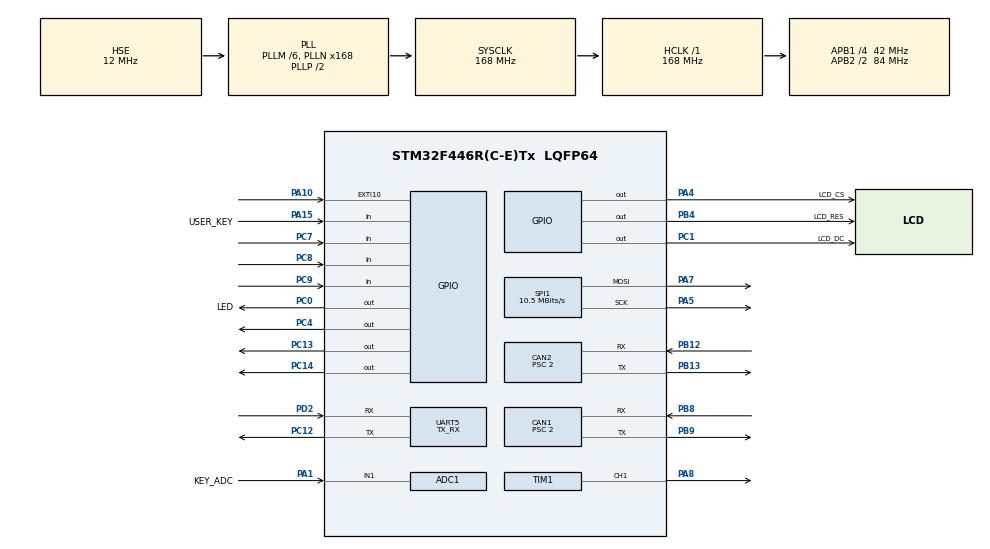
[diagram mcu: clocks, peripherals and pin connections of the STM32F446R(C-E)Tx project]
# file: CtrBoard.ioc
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ADC1.Channel-0\#ChannelRegularConversion=ADC_CHANNEL_1
ADC1.ContinuousConvMode=ENABLE
ADC1.DMAContinuousRequests=ENABLE
ADC1.NbrOfConversionFlag=1
ADC1.Rank-0\#ChannelRegularConversion=1
ADC1.SamplingTime-0\#ChannelRegularConversion=ADC_SAMPLETIME_56CYCLES
ADC1.master=1
CAN1.BS1=CAN_BS1_15TQ
CAN1.BS2=CAN_BS2_5TQ
CAN1.CalculateBaudRate=1000000
CAN1.CalculateTimeQuantum=47.61904761904762
CAN1.Prescaler=2
CAN2.BS1=CAN_BS1_15TQ
CAN2.BS2=CAN_BS2_5TQ
CAN2.CalculateBaudRate=1000000
CAN2.CalculateTimeBit=1000
CAN2.CalculateTimeQuantum=47.61904761904762
CAN2.Prescaler=2
Dma.ADC1.0.Direction=DMA_PERIPH_TO_MEMORY
Dma.ADC1.0.FIFOMode=DMA_FIFOMODE_DISABLE
Dma.ADC1.0.Instance=DMA2_Stream0
Dma.ADC1.0.MemDataAlignment=DMA_MDATAALIGN_HALFWORD
Dma.ADC1.0.MemInc=DMA_MINC_ENABLE
Dma.ADC1.0.Mode=DMA_CIRCULAR
Dma.ADC1.0.PeriphDataAlignment=DMA_PDATAALIGN_HALFWORD
Dma.ADC1.0.PeriphInc=DMA_PINC_DISABLE
Dma.ADC1.0.Priority=DMA_PRIORITY_LOW
Dma.Request0=ADC1
Dma.Request1=UART5_TX
Dma.Request2=UART5_RX
Dma.UART5_RX.2.Direction=DMA_PERIPH_TO_MEMORY
Dma.UART5_RX.2.FIFOMode=DMA_FIFOMODE_DISABLE
Dma.UART5_RX.2.Instance=DMA1_Stream0
Dma.UART5_RX.2.MemDataAlignment=DMA_MDATAALIGN_BYTE
Dma.UART5_RX.2.MemInc=DMA_MINC_ENABLE
Dma.UART5_RX.2.Mode=DMA_NORMAL
Dma.UART5_RX.2.PeriphDataAlignment=DMA_PDATAALIGN_BYTE
Dma.UART5_RX.2.PeriphInc=DMA_PINC_DISABLE
Dma.UART5_RX.2.Priority=DMA_PRIORITY_LOW
Dma.UART5_TX.1.Direction=DMA_MEMORY_TO_PERIPH
Dma.UART5_TX.1.FIFOMode=DMA_FIFOMODE_DISABLE
Dma.UART5_TX.1.Instance=DMA1_Stream7
Dma.UART5_TX.1.MemDataAlignment=DMA_MDATAALIGN_BYTE
Dma.UART5_TX.1.MemInc=DMA_MINC_ENABLE
Dma.UART5_TX.1.Mode=DMA_NORMAL
Dma.UART5_TX.1.PeriphDataAlignment=DMA_PDATAALIGN_BYTE
Dma.UART5_TX.1.PeriphInc=DMA_PINC_DISABLE
Dma.UART5_TX.1.Priority=DMA_PRIORITY_VERY_HIGH
Mcu.Family=STM32F4
Mcu.Name=STM32F446R(C-E)Tx
Mcu.Package=LQFP64
NVIC.CAN1_RX0_IRQn=true\:0\:0\:false\:false\:true\:true\:true\:true
NVIC.CAN1_RX1_IRQn=true\:0\:0\:false\:false\:true\:true\:true\:true
NVIC.CAN2_RX0_IRQn=true\:0\:0\:false\:false\:true\:true\:true\:true
NVIC.CAN2_RX1_IRQn=true\:0\:0\:false\:false\:true\:true\:true\:true
NVIC.DMA1_Stream0_IRQn=true\:0\:0\:false\:false\:true\:false\:true\:true
NVIC.DMA1_Stream7_IRQn=true\:0\:0\:false\:false\:true\:false\:true\:true
NVIC.DMA2_Stream0_IRQn=true\:0\:0\:false\:false\:true\:false\:true\:true
NVIC.PriorityGroup=NVIC_PRIORITYGROUP_4
NVIC.TIM2_IRQn=true\:0\:0\:false\:false\:true\:true\:true\:true
NVIC.TIM3_IRQn=true\:0\:0\:false\:false\:true\:true\:true\:true
NVIC.UART5_IRQn=true\:0\:0\:false\:false\:true\:true\:true\:true
PA1.GPIO_Label=KEY_ADC
PA1.Signal=ADCx_IN1
PA10.Signal=GPXTI10
PA13.Mode=Serial_Wire
PA13.Signal=SYS_JTMS-SWDIO
PA14.Mode=Serial_Wire
PA14.Signal=SYS_JTCK-SWCLK
PA15.GPIO_Label=USER_KEY
PA15.GPIO_PuPd=GPIO_PULLUP
PA15.Signal=GPIO_Input
PA4.GPIO_Label=LCD_CS
PA4.Signal=GPIO_Output
PA5.Mode=TX_Only_Simplex_Unidirect_Master
PA5.Signal=SPI1_SCK
PA7.Mode=TX_Only_Simplex_Unidirect_Master
PA7.Signal=SPI1_MOSI
PA8.Signal=S_TIM1_CH1
PB12.Mode=CAN_Activate
PB12.Signal=CAN2_RX
PB13.Mode=CAN_Activate
PB13.Signal=CAN2_TX
PB4.GPIO_Label=LCD_RES
PB4.Signal=GPIO_Output
PB8.Mode=CAN_Activate
PB8.Signal=CAN1_RX
PB9.Mode=CAN_Activate
PB9.Signal=CAN1_TX
PC0.GPIO_Label=LED
PC0.GPIO_ModeDefaultOutputPP=GPIO_MODE_OUTPUT_PP
PC0.GPIO_PuPd=GPIO_NOPULL
PC0.GPIO_Speed=GPIO_SPEED_FREQ_LOW
PC0.PinState=GPIO_PIN_RESET
PC0.Signal=GPIO_Output
PC1.GPIO_Label=LCD_DC
PC1.Signal=GPIO_Output
PC12.GPIO_PuPd=GPIO_PULLUP
PC12.Mode=Asynchronous
PC12.Signal=UART5_TX
PC13.Signal=GPIO_Output
PC14-OSC32_IN.GPIO_ModeDefaultOutputPP=GPIO_MODE_OUTPUT_PP
PC14-OSC32_IN.Signal=GPIO_Output
PC4.Signal=GPIO_Output
PC7.Signal=GPIO_Input
PC8.Signal=GPIO_Input
PC9.GPIO_PuPd=GPIO_PULLUP
PC9.Signal=GPIO_Input
PD2.GPIO_PuPd=GPIO_PULLUP
PD2.Mode=Asynchronous
PD2.Signal=UART5_RX
PH0-OSC_IN.Mode=HSE-External-Oscillator
PH0-OSC_IN.Signal=RCC_OSC_IN
PH1-OSC_OUT.Mode=HSE-External-Oscillator
PH1-OSC_OUT.Signal=RCC_OSC_OUT
ProjectManager.HeapSize=0x200
ProjectManager.StackSize=0x2000
ProjectManager.TargetToolchain=MDK-ARM V5.27
RCC.AHBFreq_Value=168000000
RCC.APB1CLKDivider=RCC_HCLK_DIV4
RCC.APB1Freq_Value=42000000
RCC.APB1TimFreq_Value=84000000
RCC.APB2CLKDivider=RCC_HCLK_DIV2
RCC.APB2Freq_Value=84000000
RCC.APB2TimFreq_Value=168000000
RCC.CortexFreq_Value=168000000
RCC.HCLKFreq_Value=168000000
RCC.HSE_VALUE=12000000
RCC.PLLM=6
RCC.PLLN=168
RCC.PLLQ=7
RCC.PLLSAIM=6
RCC.PLLSAIN=96
RCC.PLLSAIP=RCC_PLLSAIP_DIV4
RCC.PLLSourceVirtual=RCC_PLLSOURCE_HSE
RCC.SYSCLKFreq_VALUE=168000000
RCC.SYSCLKSource=RCC_SYSCLKSOURCE_PLLCLK
RCC.USBFreq_Value=48000000
RCC.VCOOutputFreq_Value=336000000
SH.ADCx_IN1.0=ADC1_IN1,IN1
SH.S_TIM1_CH1.0=TIM1_CH1,PWM Generation1 CH1
SPI1.BaudRatePrescaler=SPI_BAUDRATEPRESCALER_8
SPI1.CLKPhase=SPI_PHASE_1EDGE
SPI1.CLKPolarity=SPI_POLARITY_HIGH
SPI1.CalculateBaudRate=10.5 MBits/s
SPI1.Direction=SPI_DIRECTION_2LINES
SPI1.Mode=SPI_MODE_MASTER
SPI1.VirtualType=VM_MASTER
TIM1.Channel-PWM\ Generation1\ CH1=TIM_CHANNEL_1
TIM1.Period=1000-1
TIM2.AutoReloadPreload=TIM_AUTORELOAD_PRELOAD_ENABLE
TIM2.Period=500-1
TIM2.Prescaler=5600-1
TIM3.Period=500-1
TIM3.Prescaler=4200-1
UART5.Mode=MODE_TX_RX
UART5.VirtualMode=Asynchronous
VP_TIM11_VS_ClockSourceINT.Mode=Enable_Timer
VP_TIM2_VS_ClockSourceINT.Mode=Internal
VP_TIM3_VS_ClockSourceINT.Mode=Internal
board=custom

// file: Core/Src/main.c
/* USER CODE BEGIN Header */
/**
  ******************************************************************************
  * @file           : main.c
  * @brief          : Main program body
  ******************************************************************************
  * @attention
  *
  * <h2><center>&copy; Copyright (c) 2023 STMicroelectronics.
  * All rights reserved.</center></h2>
  *
  * This software component is licensed by ST under BSD 3-Clause license,
  * the "License"; You may not use this file except in compliance with the
  * License. You may obtain a copy of the License at:
  *                        opensource.org/licenses/BSD-3-Clause
  *
  ******************************************************************************
  */
/* USER CODE END Header */
#include "main.h"
#include "adc.h"
#include "can.h"
#include "dma.h"
#include "spi.h"
#include "tim.h"
#include "usart.h"
#include "gpio.h"

/* USER CODE BEGIN Includes */
#include "can_driver.h"
#include "dm4310_ctrl.h"
#include "scheduler.h"
#include "mcu_config.h"
#include "drivers.h"
#include "adc_modlue.h"
#include "display.h"
#include "remote_control.h"
#include "CRC8_CRC16.h"
#include "string.h"
#include "dm4310_ctrl.h"
#include "dm4310_drv.h"
#include "stdio.h"
#include "fsm.h"
fsm_t fsm;
/* USER CODE END Includes */

/* USER CODE BEGIN PD */
// 有关串口使用定义
// #define UsartToMatlab//matlab通信
 #define UsartToCDC//裁判系统通信（原先写的）
 //#define UsartTest//lora无线串口通信

/* USER CODE END PD */

void SystemClock_Config(void);
/* USER CODE BEGIN PFP */
int i = 1;

/* USER CODE END PFP */

int main(void)
{

  /* MCU Configuration--------------------------------------------------------*/

  /* Reset of all peripherals, Initializes the Flash interface and the Systick. */
  HAL_Init();

  /* Configure the system clock */
  SystemClock_Config();

  /* Initialize all configured peripherals */
  MX_GPIO_Init();
  MX_DMA_Init();
  MX_CAN1_Init();
  MX_CAN2_Init();
  MX_ADC1_Init();
  MX_SPI1_Init();
  MX_TIM1_Init();
  MX_UART5_Init();
  MX_TIM2_Init();
  MX_TIM11_Init();
  MX_TIM3_Init();
  /* USER CODE BEGIN 2 */
	Power_OUT1_ON;
	Power_OUT2_ON;
	Power_OUT3_ON;
  MCU_Init();
  HAL_Delay(100);
  ctrl_enable();
  HAL_Delay(100);
  /* Startup-only retries; periodic control is not running yet. */
  for (int i = 0; i < 50; i++) {
    ctrl_enable();
    HAL_Delay(20);
  }
  __HAL_TIM_CLEAR_IT(&htim2, TIM_IT_UPDATE);
  __HAL_TIM_CLEAR_IT(&htim3, TIM_IT_UPDATE);
  HAL_TIM_Base_Start_IT(&htim2);
  HAL_TIM_Base_Start_IT(&htim3);

// 调试阶段开的
  // HAL_UARTEx_ReceiveToIdle_DMA(&huart5, rxbuffer, sizeof(rxbuffer));

  /* USER CODE END 2 */

  /* Infinite loop */
  /* USER CODE BEGIN WHILE */
  while (1)
  {
//		scheduler_run();

    /* USER CODE END WHILE */

  }
}

void SystemClock_Config(void)
{
  RCC_OscInitTypeDef RCC_OscInitStruct = {0};
  RCC_ClkInitTypeDef RCC_ClkInitStruct = {0};

  /** Configure the main internal regulator output voltage
  */
  __HAL_RCC_PWR_CLK_ENABLE();
  __HAL_PWR_VOLTAGESCALING_CONFIG(PWR_REGULATOR_VOLTAGE_SCALE1);

  /** Initializes the RCC Oscillators according to the specified parameters
  * in the RCC_OscInitTypeDef structure.
  */
  RCC_OscInitStruct.OscillatorType = RCC_OSCILLATORTYPE_HSE;
  RCC_OscInitStruct.HSEState = RCC_HSE_ON;
  RCC_OscInitStruct.PLL.PLLState = RCC_PLL_ON;
  RCC_OscInitStruct.PLL.PLLSource = RCC_PLLSOURCE_HSE;
  RCC_OscInitStruct.PLL.PLLM = 6;
  RCC_OscInitStruct.PLL.PLLN = 168;
  RCC_OscInitStruct.PLL.PLLP = RCC_PLLP_DIV2;
  RCC_OscInitStruct.PLL.PLLQ = 7;
  RCC_OscInitStruct.PLL.PLLR = 2;
  if (HAL_RCC_OscConfig(&RCC_OscInitStruct) != HAL_OK)
  {
    Error_Handler();
  }

  /** Initializes the CPU, AHB and APB buses clocks
  */
  RCC_ClkInitStruct.ClockType = RCC_CLOCKTYPE_HCLK|RCC_CLOCKTYPE_SYSCLK
                              |RCC_CLOCKTYPE_PCLK1|RCC_CLOCKTYPE_PCLK2;
  RCC_ClkInitStruct.SYSCLKSource = RCC_SYSCLKSOURCE_PLLCLK;
  RCC_ClkInitStruct.AHBCLKDivider = RCC_SYSCLK_DIV1;
  RCC_ClkInitStruct.APB1CLKDivider = RCC_HCLK_DIV4;
  RCC_ClkInitStruct.APB2CLKDivider = RCC_HCLK_DIV2;

  if (HAL_RCC_ClockConfig(&RCC_ClkInitStruct, FLASH_LATENCY_5) != HAL_OK)
  {
    Error_Handler();
  }
}

/* USER CODE BEGIN 4 */
void HAL_TIM_PeriodElapsedCallback(TIM_HandleTypeDef *htim)
{
  /**********<=30HZ************/
  if (htim == &htim2) // 判断中断是否来自于定时器2
  {
#ifdef UsartToCDC
    image_transimission_link(&huart5, CC_mode, fsm.to_manipulator_data.data);
#endif

#ifdef UsartToMatlab
      char buffer[64];fsm_t
      int len = sprintf(buffer, "%.2f,%.2f,%.2f,%.2f,%.2f,%.2f\n",
              q[0], q[1], q[2], q[3], q[4], q[5]);//2 3 4
      HAL_UART_Transmit_DMA(&huart5, (uint8_t *)(&buffer), len);
#endif

#ifdef UsartTest
      PackTest.PackFromTest.head = 0xA5;
      for (int i = 0; i < 6; i++ )
        PackTest.PackFromTest.num[i] = motor[i].para.pos;
      //PackTest.PackFromTest.num[4] *= -1;
      PackTest.PackFromTest.num[6] = HAL_GPIO_ReadPin(GPIOC,GPIO_PIN_7);
      HAL_UART_Transmit_DMA(&huart5, (uint8_t *)(&PackTest.UsartData), sizeof(PackTest.UsartData));
#endif
  }
  /**********50HZ************/
	else if(htim == &htim3)
	{
      //fsm_run(&fsm);
		fsm_run_test(&fsm);
	}
}
/* USER CODE END 4 */

void Error_Handler(void)
{
}
